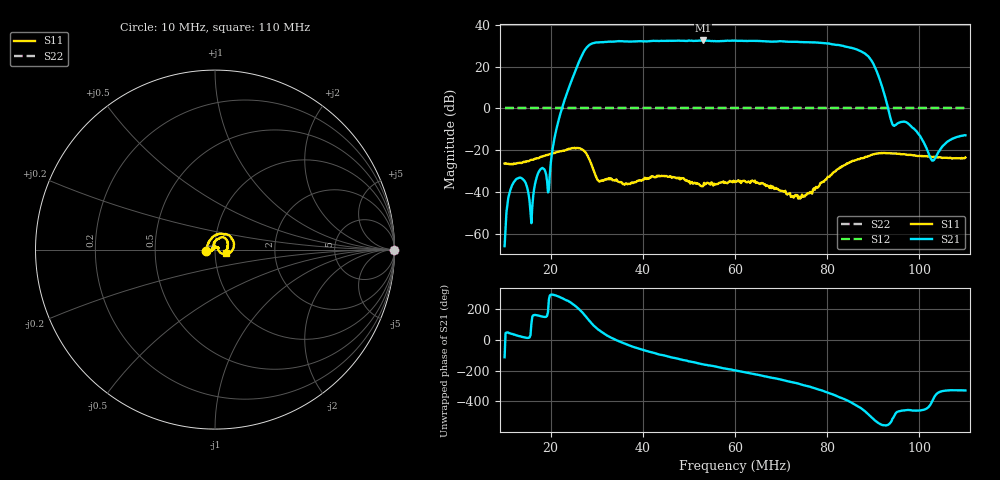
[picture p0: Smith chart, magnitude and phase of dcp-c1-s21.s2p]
! Anritsu VNA Master:  Model: MS2034B/10/19/501
! SN:  1337062
! /bd0/ovro-jan-2016/dcp-c1-s21.s2p
! Existing Calibration Information:
! TYPE:  Current Settings,  Active Cal Settings
! TIME:  01/10/2016 05:28:31 PM,  01/10/2016 03:13:30 PM
! INTERNAL TEMP:  42.3 C,  45.8 C
! # POINTS:  500,  500
! START FREQ:  10.000 MHz,  10.000 MHz
! STOP FREQ:  110.000 MHz,  110.000 MHz
! SOURCE POWER:  Low,  Low
! IFBW:  100 Hz,  100 Hz
! AVG FACTOR:  3 ,  3
! REF PLANE 1:  2.2245 m,  2.2245 m
! REF PLANE 2:  0 mm,  0 mm
! CAL TYPE:  1P2P S11,S21,  1P2P S11,S21
! CAL METHOD:  SOLT,  SOLT
! CAL LINE TYPE:  Coax,  Coax
! DUT PORT 1:  K-Conn(M),  K-Conn(M)
! DUT PORT 2:  N-Conn(M),  N-Conn(M)
! CAL STATUS:  OK: Accuracy High,  --
# GHZ S DB R 50.0
! FREQ.GHZ  S11DB  S11A  S21DB  S21A  S12DB  S12A  S22DB  S22A
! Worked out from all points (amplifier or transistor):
!   500 points, 10 MHz to 110 MHz, reference 50 ohm
!   highest |S21| = 32.6 dB at 53.09 MHz (marker M1)
!   |S21| within 3 dB of that: 27.98 MHz to 84.07 MHz (56.08 MHz wide, 100 % of centre)
!   unconditionally stable (mu >= 1): nowhere
!   at 26.63 MHz: K = 8.82, MSG = 12.4 dB, |S12| = 0.0 dB
!   at 60.1 MHz: K = 20.90, MSG = 16.2 dB, |S12| = 0.0 dB
!   at 110 MHz: K = 0.07, MSG = -6.4 dB, |S12| = 0.0 dB
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0.01  -26.40 -172.7  -66.06 -113.8  0.00 0.0  0.00 0.0
0.02362725  -19.58 56.2  7.86 -105.5  0.00 0.0  0.00 0.0
0.02583166  -18.96 26.6  20.69 -153.0  0.00 0.0  0.00 0.0
0.02683367  -19.71 4.5  25.75 178.5  0.00 0.0  0.00 0.0
0.02803607  -22.78 -20.9  29.72 135.7  0.00 0.0  0.00 0.0
0.02963928  -31.58 -26.3  31.51 83.3  0.00 0.0  0.00 0.0
0.03184369  -34.01 24.8  31.91 34.6  0.00 0.0  0.00 0.0
0.0340481  -34.62 39.4  32.12 0.2  0.00 0.0  0.00 0.0
0.03845691  -35.36 88.8  32.18 -51.4  0.00 0.0  0.00 0.0
0.04346693  -32.18 104.9  32.31 -94.8  0.00 0.0  0.00 0.0
0.04727455  -33.45 111.5  32.45 -121.0  0.00 0.0  0.00 0.0
0.05308617  -37.29 146.9  32.60 -160.5  0.00 0.0  0.00 0.0
0.0601002  -35.04 -171.7  32.43 160.7  0.00 0.0  0.00 0.0
0.06991984  -39.49 174.1  32.23 102.2  0.00 0.0  0.00 0.0
0.07673347  -40.89 120.6  31.65 49.6  0.00 0.0  0.00 0.0
0.08194389  -29.78 100.9  30.48 -3.9  0.00 0.0  0.00 0.0
0.0861523  -24.89 77.9  28.48 -63.3  0.00 0.0  0.00 0.0
0.08775551  -23.84 72.0  26.94 -93.1  0.00 0.0  0.00 0.0
0.08935872  -22.50 64.8  23.78 -136.5  0.00 0.0  0.00 0.0
0.09096192  -21.63 54.6  16.61 -177.9  0.00 0.0  0.00 0.0
0.09336673  -21.45 39.8  -1.32 170.5  0.00 0.0  0.00 0.0
0.11  -23.54 -16.3  -12.88 30.8  0.00 0.0  0.00 0.0
